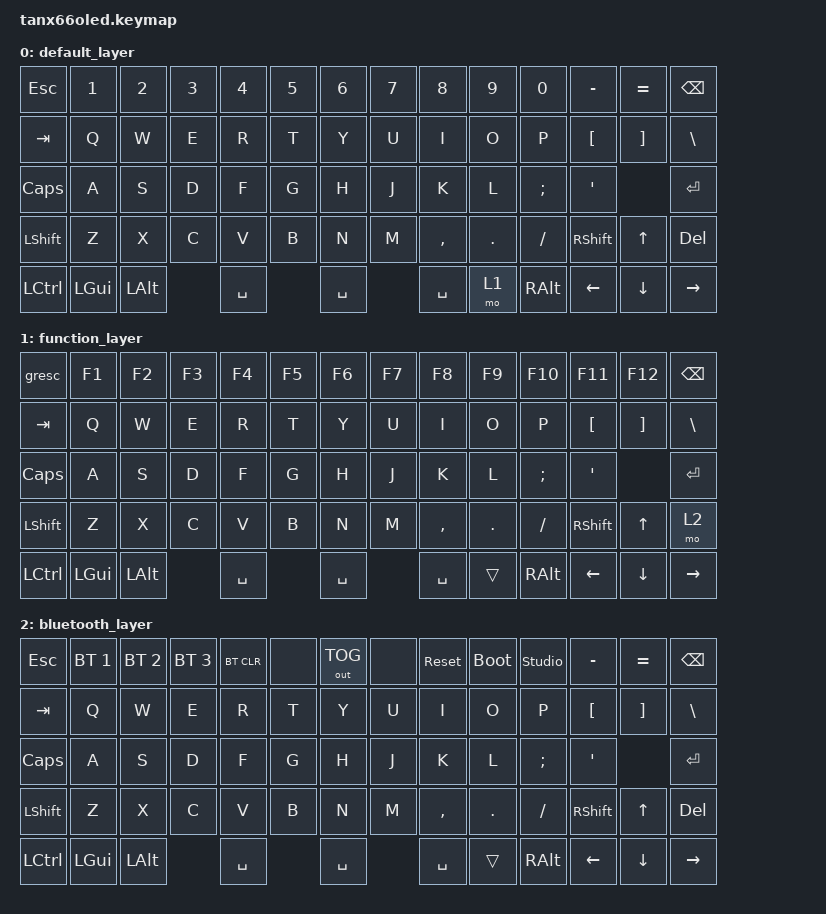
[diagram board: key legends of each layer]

/*
 * Copyright (c) 2022 The ZMK Contributors
 *
 * SPDX-License-Identifier: MIT
 */

#include <behaviors.dtsi>
#include <dt-bindings/zmk/keys.h>
#include <dt-bindings/zmk/bt.h>
#include <dt-bindings/zmk/outputs.h>

#define DEFAULT 0
#define FUNCTION 1
#define BLUETOOTH 2

/ {
    keymap {
        compatible = "zmk,keymap";

        default_layer {
            bindings = <
                &kp ESC       &kp 1     &kp 2     &kp 3     &kp 4     &kp 5     &kp 6               &kp 7     &kp 8            &kp 9       &kp 0         &kp MINUS    &kp EQUAL     &kp BSPC
                &kp TAB       &kp Q     &kp W     &kp E     &kp R     &kp T     &kp Y               &kp U     &kp I            &kp O       &kp P         &kp LBKT     &kp RBKT      &kp BSLH
                &kp CAPS      &kp A     &kp S     &kp D     &kp F     &kp G     &kp H               &kp J     &kp K            &kp L       &kp SEMI      &kp SQT                    &kp ENTER
                &kp LSHFT     &kp Z     &kp X     &kp C     &kp V     &kp B     &kp N               &kp M     &kp COMMA        &kp DOT     &kp FSLH      &kp RSHFT    &kp UP        &kp DEL
                &kp LCTRL     &kp LGUI  &kp LALT            &kp SPACE           &kp SPACE                     &kp SPACE        &mo 1       &kp RALT      &kp LEFT     &kp DOWN      &kp RIGHT
            >;
        };

        function_layer {
            bindings = <
                &gresc        &kp F1           &kp F2           &kp F3           &kp F4           &kp F5           &kp F6           &kp F7           &kp F8             &kp F9     &kp F10      &kp F11      &kp F12       &kp BSPC
                &kp TAB       &kp Q            &kp W            &kp E            &kp R            &kp T            &kp Y            &kp U            &kp I              &kp O      &kp P        &kp LBKT     &kp RBKT      &kp BSLH
                &kp CAPS      &kp A            &kp S            &kp D            &kp F            &kp G            &kp H            &kp J            &kp K              &kp L      &kp SEMI     &kp SQT                    &kp ENTER
                &kp LSHFT     &kp Z            &kp X            &kp C            &kp V            &kp B            &kp N            &kp M            &kp COMMA          &kp DOT    &kp FSLH     &kp RSHFT    &kp UP        &mo 2
                &kp LCTRL     &kp LGUI         &kp LALT                          &kp SPACE                         &kp SPACE                         &kp SPACE          &trans     &kp RALT     &kp LEFT     &kp DOWN      &kp RIGHT
            >;
        };

        bluetooth_layer {
            bindings = <
                &kp ESC       &bt BT_SEL 1     &bt BT_SEL 2     &bt BT_SEL 3     &bt BT_CLR       &none            &out OUT_TOG     &none            &sys_reset         &bootloader      &studio_unlock      &kp MINUS     &kp EQUAL     &kp BSPC
                &kp TAB       &kp Q            &kp W            &kp E            &kp R            &kp T            &kp Y            &kp U            &kp I              &kp O            &kp P               &kp LBKT      &kp RBKT      &kp BSLH
                &kp CAPS      &kp A            &kp S            &kp D            &kp F            &kp G            &kp H            &kp J            &kp K              &kp L            &kp SEMI            &kp SQT                     &kp ENTER
                &kp LSHFT     &kp Z            &kp X            &kp C            &kp V            &kp B            &kp N            &kp M            &kp COMMA          &kp DOT          &kp FSLH            &kp RSHFT     &kp UP        &kp DEL
                &kp LCTRL     &kp LGUI         &kp LALT                          &kp SPACE                         &kp SPACE                         &kp SPACE          &trans           &kp RALT            &kp LEFT      &kp DOWN      &kp RIGHT
            >;
        };

    };
};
